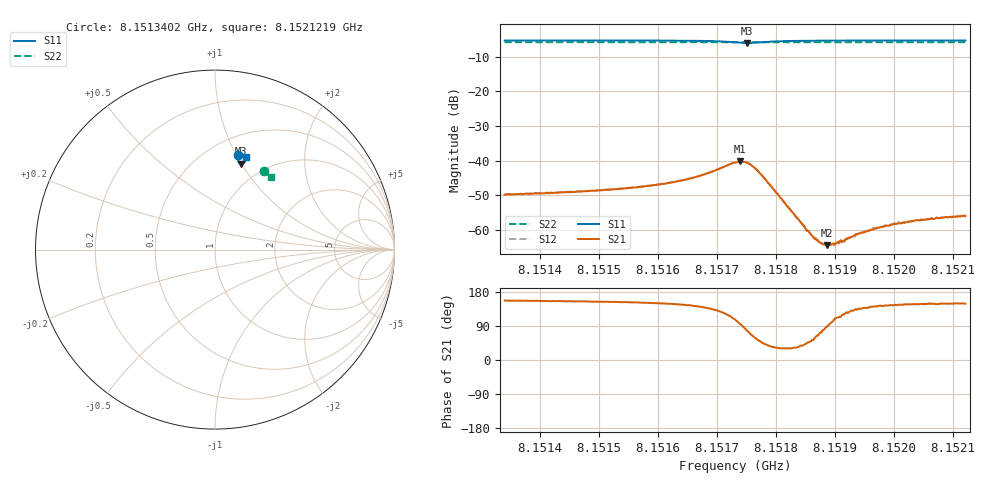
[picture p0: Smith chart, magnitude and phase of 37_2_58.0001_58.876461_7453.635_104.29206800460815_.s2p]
#  HZ  S  RI  R  50.00
! Rohde & Schwarz Vector Network Analyzer
! Rohde-Schwarz,ZNB20-2Port,1311601062101988,3.16
! Created: UTC 3/21/2024, 12:51:55 AM
! freq[Hz]  re:S11  im:S11  re:S21  im:S21  re:S12  im:S12  re:S22  im:S22
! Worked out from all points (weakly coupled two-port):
!   401 points, 8.1513402 GHz to 8.1521219 GHz, reference 50 ohm
!   highest |S21| = -40.22 dB at 8.1517389 GHz (marker M1); lowest = -64.5 dB at 8.1518874 GHz (marker M2)
!   lowest |S11| = -6.0 dB at 8.1517506 GHz (marker M3), VSWR 2.99, Z = 39 + j49.7 ohm
!   |S11| at or under -10 dB: nowhere
!   |S22| runs from -5.8 to -5.8 dB; largest |S21 - S12| = 0.00022
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8.1513402e9  0.1304 0.5278  -0.00295 0.00124  -0.00299 0.00134  0.2726 0.4357
8.15147113e9  0.141 0.5251  -0.00324 0.00153  -0.0032 0.00159  0.2798 0.4311
8.15153171e9  0.1465 0.5233  -0.00347 0.00175  -0.00345 0.0018  0.2829 0.4287
8.15160206e9  0.1539 0.5201  -0.0039 0.00226  -0.00391 0.00239  0.2868 0.4261
8.15163723e9  0.1585 0.5173  -0.00424 0.00281  -0.0042 0.00289  0.2888 0.4246
8.1516685e9  0.1634 0.5128  -0.0046 0.0037  -0.0046 0.00374  0.2903 0.4232
8.15173103e9  0.1634 0.4841  -0.00271 0.0089  -0.00259 0.00904  0.2929 0.4199
8.15173885e9  0.1569 0.4792  -0.00107 0.00969  -0.000967 0.00966  0.293 0.4196
8.15175058e9  0.1434 0.4781  0.00186 0.00917  0.00189 0.00923  0.2932 0.4195
8.1517623e9  0.1321 0.4857  0.0038 0.00715  0.00389 0.00721  0.2935 0.4196
8.15177598e9  0.1281 0.4981  0.00422 0.00451  0.00435 0.0045  0.2943 0.4195
8.15186196e9  0.1483 0.5193  0.000489 0.000659  0.000526 0.000645  0.2997 0.4167
8.1518776e9  0.1509 0.5196  0.000196 0.000617  0.000189 0.000615  0.3004 0.4161
8.15188737e9  0.1523 0.5196  1.78e-05 0.000596  1.78e-05 0.000606  0.301 0.4156
8.15190105e9  0.1541 0.5196  -0.000212 0.000581  -0.000174 0.000566  0.3018 0.4152
8.15191668e9  0.1562 0.5195  -0.000339 0.000581  -0.000361 0.000598  0.3026 0.4147
8.15194794e9  0.1597 0.5191  -0.00065 0.00062  -0.000661 0.000634  0.3043 0.4134
8.15196944e9  0.1619 0.5188  -0.000807 0.000656  -0.000813 0.000656  0.3053 0.4124
8.15199289e9  0.1642 0.5183  -0.000936 0.000661  -0.000932 0.00068  0.3065 0.4116
8.15200462e9  0.1652 0.5181  -0.000987 0.000699  -0.000988 0.000725  0.3071 0.411
8.1520437e9  0.1686 0.5172  -0.00113 0.000745  -0.00116 0.000751  0.3093 0.4094
8.15212186e9  0.1749 0.5156  -0.00134 0.000814  -0.00135 0.000798  0.3132 0.4062
